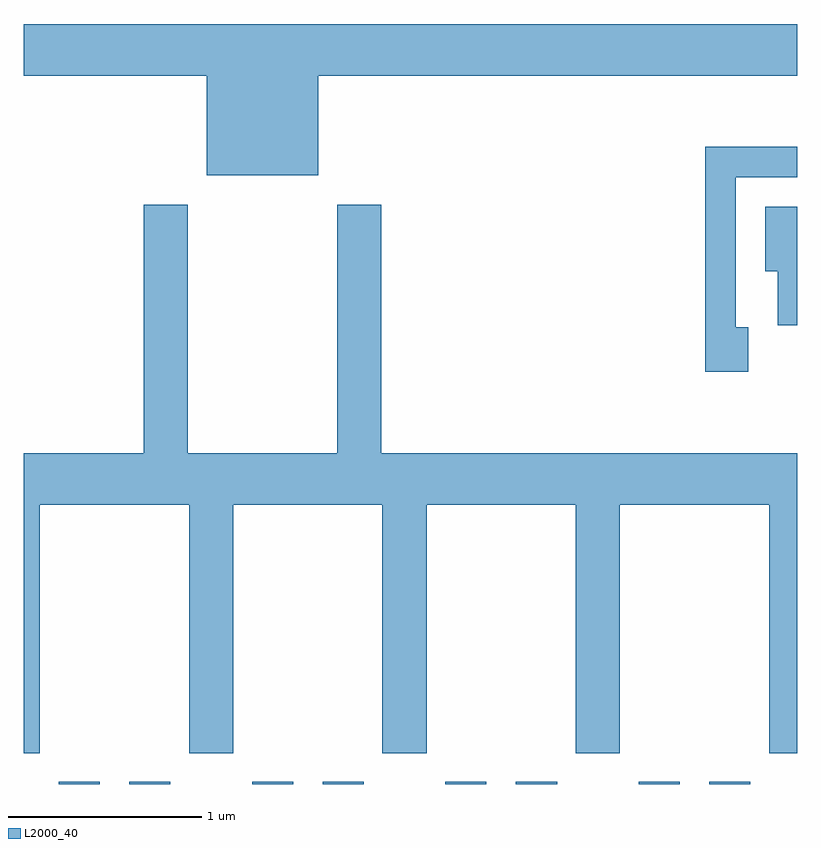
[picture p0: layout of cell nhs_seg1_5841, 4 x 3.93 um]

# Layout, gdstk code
import gdstk
lib = gdstk.Library(unit=1e-6, precision=1e-09)
def R(c, l, rs):  # rectangles x0, y0, x1, y1
    for r in rs: c.add(gdstk.rectangle(r[:2], r[2:], *l))
def P(c, l, *ps):  # polygons
    for p in ps: c.add(gdstk.Polygon(p, *l))
L2000_40 = (2000, 40)

nhs_seg1_5841 = lib.new_cell('nhs_seg1_5841')
R(nhs_seg1_5841, L2000_40, [(361.791,873.712,362.004,873.724), (362.156,873.712,362.369,873.724), (362.791,873.712,363.004,873.724), (363.156,873.712,363.369,873.724), (363.791,873.712,364.004,873.724), (364.156,873.712,364.369,873.724), (364.791,873.712,365.004,873.724), (365.156,873.712,365.369,873.724)])
P(nhs_seg1_5841, L2000_40, [(363.134,877.376),(365.611,877.376),(365.611,877.644),(361.611,877.644),(361.611,877.376),(362.556,877.376),(362.556,876.861),(363.134,876.861)],
  [(365.359,876.074),(365.294,876.074),(365.294,876.851),(365.611,876.851),(365.611,877.009),(365.136,877.009),(365.136,875.846),(365.359,875.846)],
  [(361.694,875.156),(362.466,875.156),(362.466,873.871),(362.694,873.871),(362.694,875.156),(363.466,875.156),(363.466,873.871),(363.694,873.871),(363.694,875.156),(364.466,875.156),(364.466,873.871),(364.694,873.871),(364.694,875.156),(365.466,875.156),(365.466,873.871),(365.611,873.871),(365.611,875.424),(363.459,875.424),(363.459,876.709),(363.231,876.709),(363.231,875.424),(362.459,875.424),(362.459,876.709),(362.231,876.709),(362.231,875.424),(361.611,875.424),(361.611,873.871),(361.694,873.871)],
  [(365.611,876.699),(365.446,876.699),(365.446,876.366),(365.511,876.366),(365.511,876.086),(365.611,876.086)])

lib.write_gds('nhs_seg1_5841.gds')
